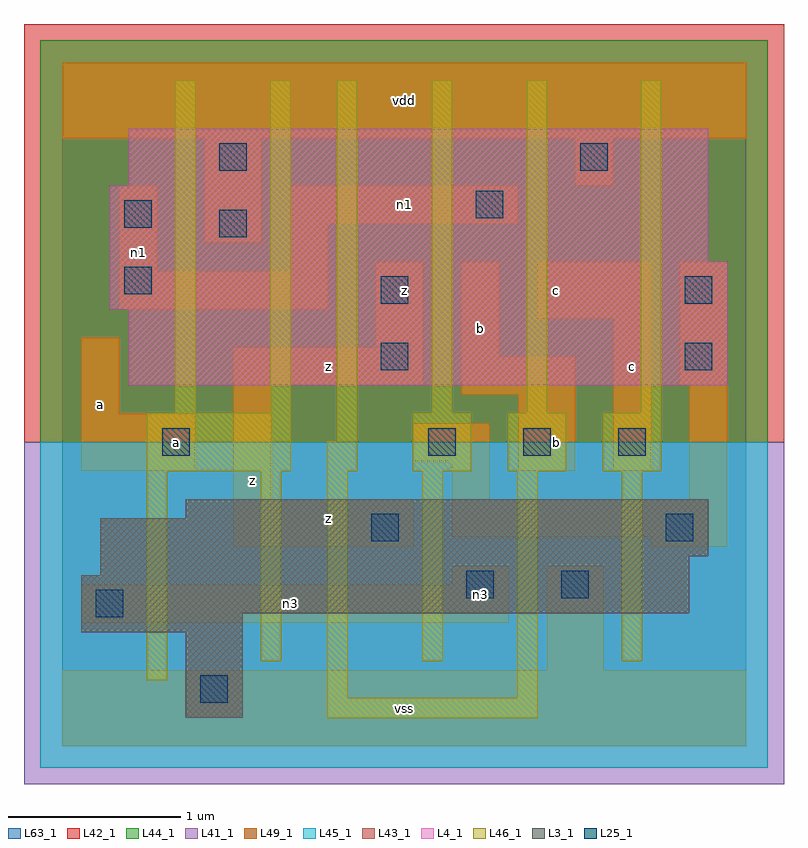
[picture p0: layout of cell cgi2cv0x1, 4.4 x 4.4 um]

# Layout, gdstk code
import gdstk
lib = gdstk.Library(unit=1e-6, precision=1e-09)
def R(c, l, rs):  # rectangles x0, y0, x1, y1
    for r in rs: c.add(gdstk.rectangle(r[:2], r[2:], *l))
def A(c, l, x, y, w, h, nx, ny, dx, dy):  # array of equal rectangles
    R(c, l, [(x+i*dx, y+j*dy, x+i*dx+w, y+j*dy+h) for i in range(nx) for j in range(ny)])
L3_1 = (3, 1)
L4_1 = (4, 1)
L25_1 = (25, 1)
L41_1 = (41, 1)
L42_1 = (42, 1)
L43_1 = (43, 1)
L44_1 = (44, 1)
L45_1 = (45, 1)
L46_1 = (46, 1)
L49_1 = (49, 1)
L63_1 = (63, 1)

cgi2cv0x1 = lib.new_cell('cgi2cv0x1')
R(cgi2cv0x1, L3_1, [(0.715,0.165,1.045,0.66), (0.11,0.66,1.045,0.77), (0.11,0.77,3.63,0.99), (0.22,0.99,3.63,1.1), (0.22,1.1,3.74,1.32), (0.715,1.32,3.74,1.43)])
R(cgi2cv0x1, L4_1, [(0.385,2.09,3.85,2.53), (0.275,2.53,3.85,2.805), (0.275,2.805,3.74,3.245), (0.385,3.245,3.74,3.575)])
A(cgi2cv0x1, L25_1, 2.12, 1.68, 0.16, 0.16, 3, 1, 0.55, 0)
R(cgi2cv0x1, L25_1, [(0.8,0.25,0.96,0.41), (0.195,0.745,0.355,0.905), (2.34,0.855,2.5,1.015), (2.89,0.855,3.05,1.015), (1.79,1.185,1.95,1.345), (3.495,1.185,3.655,1.345), (0.58,1.68,0.74,1.84), (1.845,2.175,2.005,2.335), (3.605,2.175,3.765,2.335), (1.845,2.56,2.005,2.72), (3.605,2.56,3.765,2.72), (0.36,2.615,0.52,2.775), (0.91,2.945,1.07,3.105), (0.36,3,0.52,3.16), (2.395,3.055,2.555,3.215), (0.91,3.33,1.07,3.49), (3,3.33,3.16,3.49)])
R(cgi2cv0x1, L41_1, [(-0.22,-0.22,4.18,1.76)])
R(cgi2cv0x1, L42_1, [(-0.22,1.76,4.18,4.18)])
R(cgi2cv0x1, L43_1, [(0.715,0.165,1.045,0.66), (0.11,0.66,1.045,0.77), (0.11,0.77,3.63,0.99), (0.22,0.99,3.63,1.1), (0.22,1.1,3.74,1.32), (0.715,1.32,3.74,1.43), (0.385,2.09,3.85,2.53), (0.275,2.53,3.85,2.805), (0.275,2.805,3.74,3.245), (0.385,3.245,3.74,3.575)])
R(cgi2cv0x1, L44_1, [(-0.125,1.76,4.085,4.085)])
R(cgi2cv0x1, L45_1, [(-0.125,-0.125,4.085,1.76)])
A(cgi2cv0x1, L46_1, 2.03, 1.59, 0.34, 0.34, 3, 1, 0.55, 0)
R(cgi2cv0x1, L46_1, [(1.535,0.16,2.755,0.28), (1.535,0.28,1.655,1.59), (2.635,0.28,2.755,1.59), (0.49,0.38,0.61,1.59), (1.15,0.49,1.27,1.59), (2.085,0.49,2.205,1.59), (3.24,0.49,3.36,1.59), (0.49,1.59,1.325,1.93), (1.535,1.59,1.71,1.765), (1.59,1.765,1.71,3.855), (0.655,1.93,0.775,3.855), (1.205,1.93,1.325,3.855), (2.14,1.93,2.26,3.855), (2.69,1.93,2.81,3.855), (3.35,1.93,3.47,3.855)])
R(cgi2cv0x1, L49_1, [(0,0,3.96,0.44), (2.805,0.44,3.135,1.045), (0.11,0.715,2.585,0.935), (2.255,0.935,2.585,1.045), (0.99,1.155,2.035,1.43), (3.41,1.155,3.85,1.21), (2.255,1.21,3.85,1.43), (0.99,1.43,1.21,2.09), (2.255,1.43,2.475,1.65), (3.63,1.43,3.85,2.09), (0.11,1.595,0.77,1.925), (2.64,1.595,2.97,2.035), (3.19,1.595,3.41,2.475), (2.035,1.65,2.475,1.87), (0.11,1.925,0.33,2.365), (2.31,2.035,2.97,2.255), (0.99,2.09,2.09,2.31), (3.575,2.09,3.85,2.805), (2.31,2.255,2.53,2.805), (1.815,2.31,2.09,2.805), (2.75,2.475,3.41,2.805), (0.33,2.53,1.54,2.75), (0.33,2.75,0.55,3.245), (1.32,2.75,1.54,3.025), (0.825,2.915,1.155,3.52), (1.32,3.025,2.64,3.245), (2.97,3.245,3.19,3.52), (0,3.52,3.96,3.96)])
R(cgi2cv0x1, L63_1, [(0,0,3.96,3.96)])
cgi2cv0x1.add(gdstk.Label('a', (0.66,1.76), layer=49, texttype=1))
cgi2cv0x1.add(gdstk.Label('a', (0.22,1.98), layer=49, texttype=1))
cgi2cv0x1.add(gdstk.Label('n1', (0.44,2.86), layer=49, texttype=1))
cgi2cv0x1.add(gdstk.Label('z', (1.1,1.54), layer=49, texttype=1))
cgi2cv0x1.add(gdstk.Label('z', (1.54,1.32), layer=49, texttype=1))
cgi2cv0x1.add(gdstk.Label('z', (1.54,2.2), layer=49, texttype=1))
cgi2cv0x1.add(gdstk.Label('vss', (1.98,0.22), layer=49, texttype=1))
cgi2cv0x1.add(gdstk.Label('n3', (1.32,0.825), layer=49, texttype=1))
cgi2cv0x1.add(gdstk.Label('n3', (2.42,0.88), layer=49, texttype=1))
cgi2cv0x1.add(gdstk.Label('b', (2.86,1.76), layer=49, texttype=1))
cgi2cv0x1.add(gdstk.Label('z', (1.98,2.64), layer=49, texttype=1))
cgi2cv0x1.add(gdstk.Label('c', (2.86,2.64), layer=49, texttype=1))
cgi2cv0x1.add(gdstk.Label('b', (2.42,2.42), layer=49, texttype=1))
cgi2cv0x1.add(gdstk.Label('n1', (1.98,3.135), layer=49, texttype=1))
cgi2cv0x1.add(gdstk.Label('vdd', (1.98,3.74), layer=49, texttype=1))
cgi2cv0x1.add(gdstk.Label('c', (3.3,2.2), layer=49, texttype=1))

lib.write_gds('cgi2cv0x1.gds')
